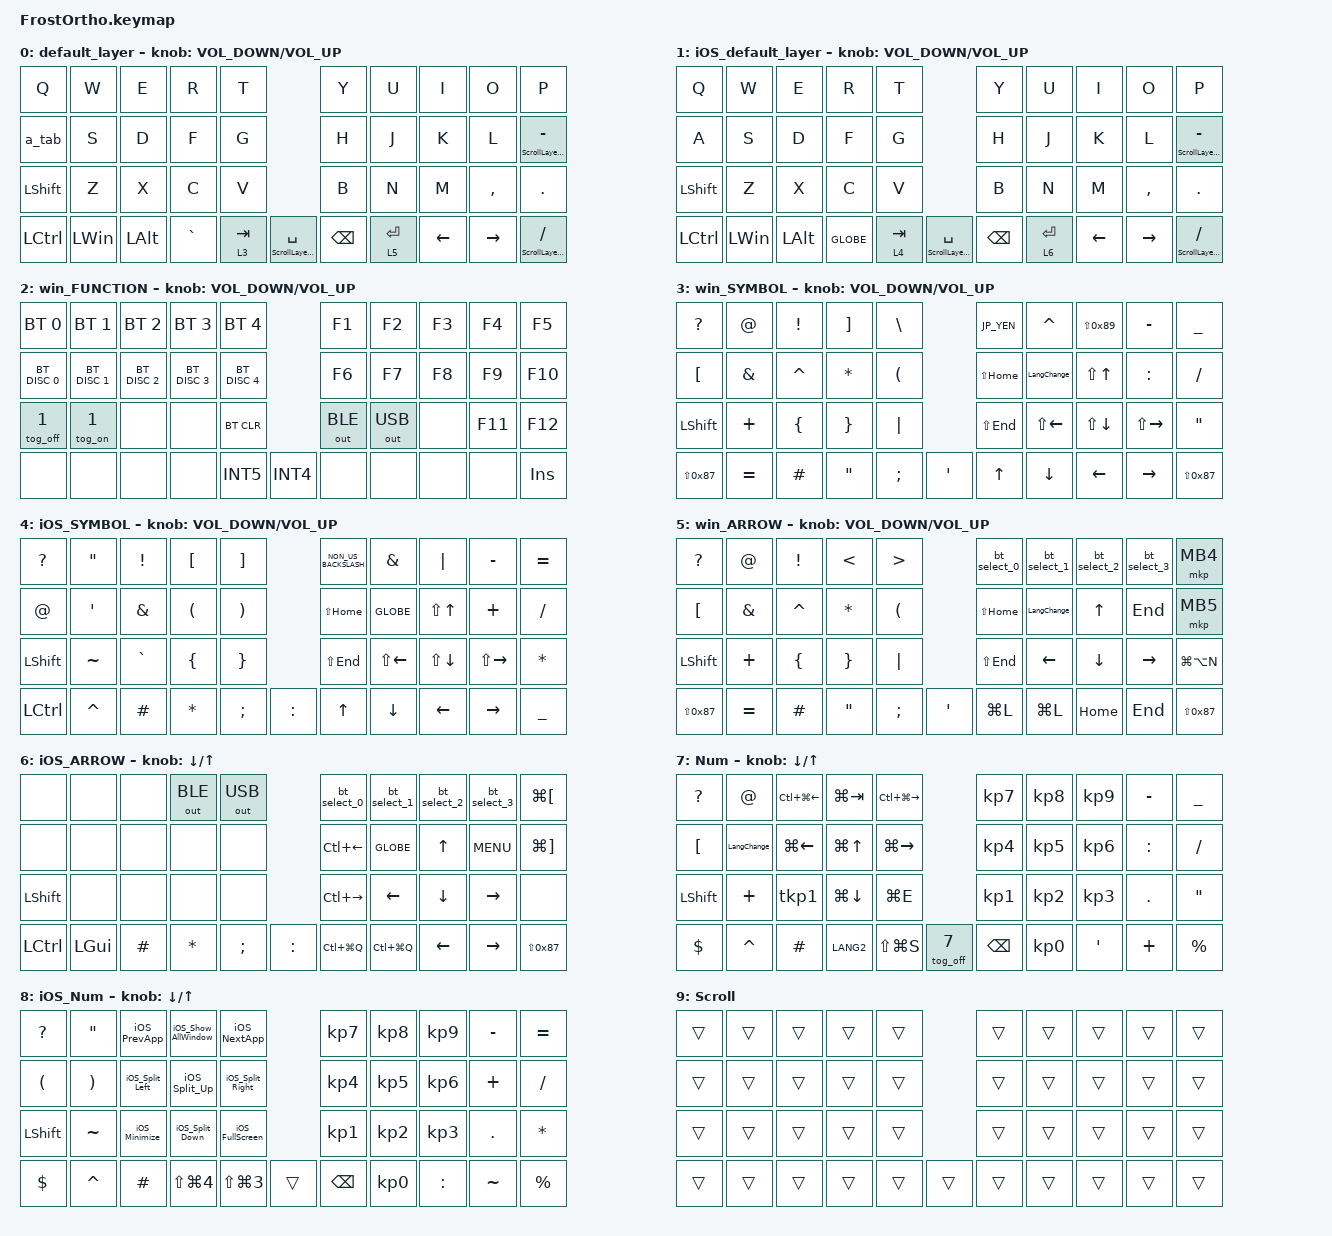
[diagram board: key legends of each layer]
#include <behaviors/rgbled_widget.dtsi>
#include <behaviors.dtsi>
#include <dt-bindings/zmk/bt.h>
#include <dt-bindings/zmk/keys.h>
#include <dt-bindings/zmk/outputs.h>
#include <dt-bindings/zmk/pointing.h>

// OS設定を日本語キーボードのまま使用するための変換定義

#define JP_DQUOTE       AT                // "
#define JP_AMPERSAND    CARET             // &
#define JP_QUOTE        AMPERSAND         // '
#define JP_EQUAL        UNDER             // =
#define JP_CARET        EQUAL             // ^
#define JP_YEN          0x89              // ¥
#define JP_PLUS         COLON             // +
#define JP_TILDE        PLUS              // ~
#define JP_PIPE         LS(0x89)          // |
#define JP_AT           LEFT_BRACKET      // @
#define JP_COLON        SINGLE_QUOTE      // :
#define JP_ASTERISK     DOUBLE_QUOTES     // *
#define JP_BACKQUOTE    LEFT_BRACE        // `
#define JP_UNDERSCORE   LS(0x87)          // _
#define JP_LBRACKET     RIGHT_BRACKET     // [
#define JP_RBRACKET     BACKSLASH         // ]
#define JP_LPAREN       ASTERISK          // (
#define JP_RPAREN       LEFT_PARENTHESIS  // )
#define JP_LBRACE       RIGHT_BRACE       // {
#define JP_RBRACE       PIPE              // }
#define JP_KANA         LANGUAGE_1        // かな
#define JP_EISU         LANGUAGE_2        // 英数
#define JP_HANZEN       GRAVE             // 半角/全角

&mt {
    flavor = "tap-preferred";
    quick-tap-ms = <0>;
};

&trackball {
    // automouse-layer = <1>;

    scroll-layers = <9>;

    arrows {
        layers = <3>;
        bindings =
            <&kp RIGHT_ARROW>,
            <&kp LEFT_ARROW>,
            <&kp UP_ARROW>,
            <&kp DOWN_ARROW>;

        tick = <60>;
        wait-ms = <50>;
        tap-ms = <5>;
    };

    arrows_iOS {
        layers = <4>;
        bindings =
            <&kp RIGHT_ARROW>,
            <&kp LEFT_ARROW>,
            <&kp UP_ARROW>,
            <&kp DOWN_ARROW>;

        tick = <30>;
        wait-ms = <10>;
        tap-ms = <5>;
    };
};

/ {
    combos {
        compatible = "zmk,combos";

        esc {
            bindings = <&kp ESC>;
            key-positions = <0 1>;
        };

        Fn2 {
            bindings = <&kp F2>;
            key-positions = <1 2>;
        };

        Left_Click {
            bindings = <&mkp MB1>;
            key-positions = <5 6>;
        };

        Right_Click {
            bindings = <&mkp MB2>;
            key-positions = <6 7>;
        };

        comboDELL {
            bindings = <&kp DEL>;
            key-positions = <8 9>;
        };

        ctrlQ {
            bindings = <&kp LC(Q)>;
            key-positions = <17 16>;
        };

        WindowClose {
            bindings = <&window_close>;
            key-positions = <8 7 9 6>;
        };

        ContextMenu {
            bindings = <&kp K_CONTEXT_MENU>;
            key-positions = <27 26>;
        };

        mb3 {
            bindings = <&mkp MB3>;
            key-positions = <7 6 5>;
        };

        lt_function {
            bindings = <&mo 2>;
            key-positions = <25 36>;
        };

        escapeRightSide {
            bindings = <&kp ESC>;
            key-positions = <17 16 15>;
            layers = <0>;
        };

        home {
            bindings = <&kp HOME>;
            key-positions = <27 38>;
        };

        end {
            bindings = <&kp END>;
            key-positions = <28 39>;
        };

        arrowUp {
            bindings = <&kp UP_ARROW>;
            key-positions = <28 27>;
        };

        arrowDown {
            bindings = <&kp DOWN_ARROW>;
            key-positions = <39 38>;
        };

        ltFunction {
            bindings = <&mo 2>;
            key-positions = <31 32>;
        };

        Left_Click2 {
            bindings = <&mkp MB1>;
            key-positions = <15 16>;
        };

        Right_Click2 {
            bindings = <&mkp MB2>;
            key-positions = <16 17>;
        };

        escapeRightSide2 {
            bindings = <&kp ESC>;
            key-positions = <25 26 27>;
            layers = <0>;
        };

        Fn5 {
            bindings = <&kp F5>;
            key-positions = <4 3>;
        };
    };

    macros {
        to_layer_0: to_layer_0 {
            compatible = "zmk,behavior-macro-one-param";
            #binding-cells = <1>;
            bindings = <&to 0 &macro_param_1to1 &kp MACRO_PLACEHOLDER>;
            label = "TO_LAYER_0";
        };

        screenshot: screenshot {
            compatible = "zmk,behavior-macro";
            #binding-cells = <0>;
            bindings =
                <&to 7>,
                <&macro_press>,
                <&kp LEFT_WIN &kp LEFT_SHIFT &kp S>,
                <&macro_release>,
                <&kp LEFT_WIN &kp LEFT_SHIFT &kp S>;

            label = "SCREENSHOT";
        };

        tkp1: tkp1 {
            compatible = "zmk,behavior-macro";
            #binding-cells = <0>;
            bindings = <&kp LS(T) &kp R &kp N5 &kp N3 &kp LS(D) &kp EXCL &kp G &kp J &kp O>;
            label = "TKP1";
        };

        window_close: window_close {
            compatible = "zmk,behavior-macro";
            #binding-cells = <0>;
            bindings =
                <&macro_press>,
                <&kp LEFT_ALT>,
                <&macro_wait_time 500>,
                <&macro_tap>,
                <&kp F4>,
                <&macro_wait_time 500>,
                <&macro_release>,
                <&kp LEFT_ALT>;

            label = "WINDOW_CLOSE";
        };

        bt_select_0: bt_select_0 {
            compatible = "zmk,behavior-macro";
            #binding-cells = <0>;
            bindings = <&tog_off 1>, <&macro_wait_time 200>, <&bt BT_SEL 0>;

            label = "BT_SELECT_0";
        };

        bt_select_1: bt_select_1 {
            compatible = "zmk,behavior-macro";
            #binding-cells = <0>;
            bindings = <&tog_off 1>, <&macro_wait_time 200>, <&bt BT_SEL 1>;

            label = "BT_SELECT_1";
        };

        bt_select_2: bt_select_2 {
            compatible = "zmk,behavior-macro";
            #binding-cells = <0>;
            bindings = <&bt BT_SEL 2>, <&macro_wait_time 500>, <&tog_on 1>;

            label = "BT_SELECT_2";
        };

        ScrollLayer_win: ScrollLayer_win {
            compatible = "zmk,behavior-macro";
            #binding-cells = <0>;
            bindings =
                <&tog_on 7>,
                <&macro_wait_time 100>,
                <&tog_on 9>,
                <&macro_pause_for_release>,
                <&tog_off 7>,
                <&macro_wait_time 100>,
                <&tog_off 9>;

            label = "SCROLLLAYER_WIN";
        };

        ScrollLayer_iOS: ScrollLayer_iOS {
            compatible = "zmk,behavior-macro";
            #binding-cells = <0>;
            bindings =
                <&tog_on 8>,
                <&macro_wait_time 100>,
                <&tog_on 9>,
                <&macro_pause_for_release>,
                <&tog_off 8>,
                <&macro_wait_time 100>,
                <&tog_off 9>;

            label = "SCROLLLAYER_IOS";
        };

        iOS_FullScreen: iOS_FullScreen {
            compatible = "zmk,behavior-macro";
            #binding-cells = <0>;
            bindings =
                <&macro_press>,
                <&kp GLOBE>,
                <&macro_tap>,
                <&kp F>,
                <&macro_release>,
                <&kp GLOBE>;

            label = "IOS_FULLSCREEN";
        };

        iOS_Minimize: iOS_Minimize {
            compatible = "zmk,behavior-macro";
            #binding-cells = <0>;
            bindings =
                <&macro_press>,
                <&kp GLOBE>,
                <&macro_tap>,
                <&kp M>,
                <&macro_release>,
                <&kp GLOBE>;

            label = "IOS_MINIMIZE";
        };

        iOS_Split_Left: iOS_Split_Left {
            compatible = "zmk,behavior-macro";
            #binding-cells = <0>;
            bindings =
                <&macro_press>,
                <&kp LCTRL &kp GLOBE>,
                <&macro_tap>,
                <&kp LEFT_ARROW>,
                <&macro_release>,
                <&kp LCTRL &kp GLOBE>;

            label = "IOS_SPLIT_LEFT";
        };

        iOS_Split_Right: iOS_Split_Right {
            compatible = "zmk,behavior-macro";
            #binding-cells = <0>;
            bindings =
                <&macro_press>,
                <&kp LCTRL &kp GLOBE>,
                <&macro_tap>,
                <&kp RIGHT_ARROW>,
                <&macro_release>,
                <&kp LCTRL &kp GLOBE>;

            label = "IOS_SPLIT_RIGHT";
        };

        iOS_Split_Up: iOS_Split_Up {
            compatible = "zmk,behavior-macro";
            #binding-cells = <0>;
            bindings =
                <&macro_press>,
                <&kp LCTRL &kp GLOBE>,
                <&macro_tap>,
                <&kp UP_ARROW>,
                <&macro_release>,
                <&kp LCTRL &kp GLOBE>;

            label = "IOS_SPLIT_UP";
        };

        iOS_Split_Down: iOS_Split_Down {
            compatible = "zmk,behavior-macro";
            #binding-cells = <0>;
            bindings =
                <&macro_press>,
                <&kp LCTRL &kp GLOBE>,
                <&macro_tap>,
                <&kp DOWN_ARROW>,
                <&macro_release>,
                <&kp LCTRL &kp GLOBE>;

            label = "IOS_SPLIT_DOWN";
        };

        iOS_Show_AllWindow: iOS_Show_AllWindow {
            compatible = "zmk,behavior-macro";
            #binding-cells = <0>;
            bindings =
                <&macro_press>,
                <&kp GLOBE>,
                <&macro_tap>,
                <&kp UP_ARROW>,
                <&macro_release>,
                <&kp GLOBE>;

            label = "IOS_SHOW_ALLWINDOW";
        };

        iOS_NextApp: iOS_NextApp {
            compatible = "zmk,behavior-macro";
            #binding-cells = <0>;
            bindings =
                <&macro_press>,
                <&kp GLOBE>,
                <&macro_tap>,
                <&kp RIGHT_ARROW>,
                <&macro_release>,
                <&kp GLOBE>;

            label = "IOS_NEXTAPP";
        };

        iOS_PrevApp: iOS_PrevApp {
            compatible = "zmk,behavior-macro";
            #binding-cells = <0>;
            bindings =
                <&macro_press>,
                <&kp GLOBE>,
                <&macro_tap>,
                <&kp LEFT_ARROW>,
                <&macro_release>,
                <&kp GLOBE>;

            label = "IOS_PREVAPP";
        };

        bt_select_3: bt_select_3 {
            compatible = "zmk,behavior-macro";
            #binding-cells = <0>;
            bindings = <&tog_off 1>, <&macro_wait_time 200>, <&bt BT_SEL 3>;

            label = "BT_SELECT_3";
        };

        OCMD: OCMD {
            compatible = "zmk,behavior-macro";
            #binding-cells = <0>;
            bindings =
                <&kp LG(R)>,
                <&macro_wait_time 800>,
                <&kp C &kp M &kp D>,
                <&macro_wait_time 800>,
                <&kp ENTER>;

            label = "OCMD";
        };
    };

    behaviors {
        lt_to_layer_0: lt_to_layer_0 {
            compatible = "zmk,behavior-hold-tap";
            label = "LAYER_TAP_TO_0";
            bindings = <&mo>, <&to_layer_0>;

            #binding-cells = <2>;
            tapping-term-ms = <300>;
        };

        // Kyemap Editor用

        scroll_up_down: behavior_sensor_rotate_mouse_wheel_up_down {
            compatible = "zmk,behavior-sensor-rotate";
            #sensor-binding-cells = <0>;
            tap-ms = <20>;
            bindings = <&msc SCRL_UP>, <&msc SCRL_DOWN>;
        };

        vol_up_down: vol_up_down {
            compatible = "zmk,behavior-sensor-rotate";
            #sensor-binding-cells = <0>;
            tap-ms = <5>;
            bindings = <&kp C_VOL_DN>, <&kp C_VOL_UP>;
        };

        tog_on: toggle_layer_on_only {
            compatible = "zmk,behavior-toggle-layer";
            #binding-cells = <1>;
            display-name = "Toggle Layer On";
            toggle-mode = "on";
        };

        tog_off: toggle_layer_off_only {
            compatible = "zmk,behavior-toggle-layer";
            #binding-cells = <1>;
            display-name = "Toggle Layer Off";
            toggle-mode = "off";
        };

        lt_ScrollLayer_win: lt_ScrollLayer_win {
            compatible = "zmk,behavior-hold-tap";
            label = "LT_SCROLLLAYER_WIN";
            bindings = <&ScrollLayer_win>, <&kp>;

            #binding-cells = <2>;
            tapping-term-ms = <200>;
            flavor = "tap-preferred";
        };

        lt_ScrollLayer_iOS: lt_ScrollLayer_iOS {
            compatible = "zmk,behavior-hold-tap";
            label = "LT_SCROLLLAYER_IOS";
            bindings = <&ScrollLayer_iOS>, <&kp>;

            #binding-cells = <2>;
            tapping-term-ms = <200>;
            flavor = "tap-preferred";
        };

        a_tab: a_tab {
            compatible = "zmk,behavior-mod-morph";
            label = "A_TAB";
            bindings = <&kp A>, <&kp TAB>;

            #binding-cells = <0>;
            mods = <(MOD_LALT)>;
            keep-mods = <(MOD_LALT)>;
        };

        LangChange: LangChange {
            compatible = "zmk,behavior-tap-dance";
            label = "LANGCHANGE";
            #binding-cells = <0>;
            bindings = <&kp LANG2>, <&kp LANG1>;

            tapping-term-ms = <500>;
        };

        backspace_lt_win: backspace_lt_win {
            compatible = "zmk,behavior-tap-dance";
            label = "BACKSPACE_LT_WIN";
            #binding-cells = <0>;
            bindings = <&lt 5 BACKSPACE>, <&kp BACKSPACE>;
        };

        backspace_lt_ios: backspace_lt_ios {
            compatible = "zmk,behavior-tap-dance";
            label = "BACKSPACE_LT_IOS";
            #binding-cells = <0>;
            bindings = <&lt 6 BACKSPACE>, <&kp BACKSPACE>;
        };

        MouseScroll: MouseScroll {
            compatible = "zmk,behavior-sensor-rotate";
            label = "MOUSESCROLL";
            #sensor-binding-cells = <0>;
            bindings = <&kp K_SCROLL_DOWN>, <&kp K_SCROLL_UP>;
        };
    };

    keymap {
        compatible = "zmk,keymap";

        default_layer {
            bindings = <
&kp Q           &kp W         &kp E         &kp R      &kp T                                       &kp Y          &kp U        &kp I           &kp O            &kp P
&a_tab          &kp S         &kp D         &kp F      &kp G                                       &kp H          &kp J        &kp K           &kp L            &lt_ScrollLayer_win 0 MINUS
&kp LEFT_SHIFT  &kp Z         &kp X         &kp C      &kp V                                       &kp B          &kp N        &kp M           &kp COMMA        &kp PERIOD
&kp LCTRL       &kp LEFT_WIN  &kp LEFT_ALT  &kp GRAVE  &lt 3 TAB  &lt_ScrollLayer_win 0 SPACE      &kp BACKSPACE  &lt 5 ENTER  &kp LEFT_ARROW  &kp RIGHT_ARROW  &lt_ScrollLayer_win 0 SLASH
            >;

            sensor-bindings = <&inc_dec_kp C_VOLUME_DOWN C_VOLUME_UP>;
        };

        iOS_default_layer {
            bindings = <
&kp Q           &kp W         &kp E         &kp R      &kp T                                       &kp Y          &kp U        &kp I           &kp O            &kp P
&kp A           &kp S         &kp D         &kp F      &kp G                                       &kp H          &kp J        &kp K           &kp L            &lt_ScrollLayer_iOS 0 MINUS
&kp LEFT_SHIFT  &kp Z         &kp X         &kp C      &kp V                                       &kp B          &kp N        &kp M           &kp COMMA        &kp PERIOD
&kp LCTRL       &kp LEFT_WIN  &kp LEFT_ALT  &kp GLOBE  &lt 4 TAB  &lt_ScrollLayer_iOS 0 SPACE      &kp BACKSPACE  &lt 6 ENTER  &kp LEFT_ARROW  &kp RIGHT_ARROW  &lt_ScrollLayer_iOS 0 SLASH
            >;

            sensor-bindings = <&inc_dec_kp C_VOLUME_DOWN C_VOLUME_UP>;
        };

        win_FUNCTION {
            bindings = <
&bt BT_SEL 0   &bt BT_SEL 1   &bt BT_SEL 2   &bt BT_SEL 3   &bt BT_SEL 4                 &kp F1        &kp F2        &kp F3  &kp F4   &kp F5
&bt BT_DISC 0  &bt BT_DISC 1  &bt BT_DISC 2  &bt BT_DISC 3  &bt BT_DISC 4                &kp F6        &kp F7        &kp F8  &kp F9   &kp F10
&tog_off 1     &tog_on 1      &none          &none          &bt BT_CLR                   &out OUT_BLE  &out OUT_USB  &none   &kp F11  &kp F12
&none          &none          &none          &none          &kp INT5       &kp INT4      &none         &none         &none   &none    &kp INSERT
            >;

            sensor-bindings = <&inc_dec_kp C_VOLUME_DOWN C_VOLUME_UP>;
        };

        win_SYMBOL {
            bindings = <
&kp QUESTION       &kp JP_DQUOTE  &kp EXCLAMATION   &kp JP_LBRACKET  &kp JP_RBRACKET                    &kp JP_YEN    &kp JP_AMPERSAND    &kp JP_PIPE         &kp MINUS            &kp JP_EQUAL
&kp JP_AT          &kp JP_QUOTE   &kp JP_AMPERSAND  &kp JP_LPAREN    &kp JP_RPAREN                      &kp LS(HOME)  &LangChange         &kp LS(UP_ARROW)    &kp JP_PLUS          &kp SLASH
&kp LEFT_SHIFT     &kp JP_TILDE   &kp JP_BACKQUOTE  &kp JP_LBRACE    &kp JP_RBRACE                      &kp LS(END)   &kp LS(LEFT_ARROW)  &kp LS(DOWN_ARROW)  &kp LS(RIGHT_ARROW)  &kp JP_ASTERISK
&kp JP_UNDERSCORE  &kp JP_CARET   &kp HASH          &kp JP_ASTERISK  &kp SEMICOLON    &kp JP_COLON      &kp UP_ARROW  &kp DOWN_ARROW      &kp LEFT_ARROW      &kp RIGHT_ARROW      &kp JP_UNDERSCORE
            >;

            sensor-bindings = <&inc_dec_kp C_VOLUME_DOWN C_VOLUME_UP>;
        };

        iOS_SYMBOL {
            bindings = <
&kp QUESTION      &kp DOUBLE_QUOTES  &kp EXCLAMATION  &kp LEFT_BRACKET      &kp RBKT                              &kp NON_US_BACKSLASH  &kp AMPERSAND       &kp PIPE            &kp MINUS            &kp EQUAL
&kp AT_SIGN       &kp SQT            &kp AMPERSAND    &kp LEFT_PARENTHESIS  &kp RIGHT_PARENTHESIS                 &kp LS(HOME)          &kp GLOBE           &kp LS(UP_ARROW)    &kp PLUS             &kp SLASH
&kp LEFT_SHIFT    &kp TILDE          &kp GRAVE        &kp LEFT_BRACE        &kp RIGHT_BRACE                       &kp LS(END)           &kp LS(LEFT_ARROW)  &kp LS(DOWN_ARROW)  &kp LS(RIGHT_ARROW)  &kp ASTERISK
&kp LEFT_CONTROL  &kp CARET          &kp HASH         &kp ASTERISK          &kp SEMICOLON          &kp COLON      &kp UP_ARROW          &kp DOWN_ARROW      &kp LEFT_ARROW      &kp RIGHT_ARROW      &kp UNDERSCORE
            >;

            sensor-bindings = <&inc_dec_kp C_VOLUME_DOWN C_VOLUME_UP>;
        };

        win_ARROW {
            bindings = <
&kp QUESTION       &kp JP_DQUOTE  &kp EXCLAMATION   &kp LESS_THAN    &kp GREATER_THAN                    &bt_select_0  &bt_select_1    &bt_select_2    &bt_select_3     &mkp MB4
&kp JP_AT          &kp JP_QUOTE   &kp JP_AMPERSAND  &kp JP_LPAREN    &kp JP_RPAREN                       &kp LS(HOME)  &LangChange     &kp UP_ARROW    &kp END          &mkp MB5
&kp LEFT_SHIFT     &kp JP_TILDE   &kp JP_BACKQUOTE  &kp JP_LBRACE    &kp JP_RBRACE                       &kp LS(END)   &kp LEFT_ARROW  &kp DOWN_ARROW  &kp RIGHT_ARROW  &kp LG(LA(N))
&kp JP_UNDERSCORE  &kp JP_CARET   &kp HASH          &kp JP_ASTERISK  &kp SEMICOLON     &kp JP_COLON      &kp LG(L)     &kp LG(L)       &kp HOME        &kp END          &kp JP_UNDERSCORE
            >;

            sensor-bindings = <&inc_dec_kp C_VOLUME_DOWN C_VOLUME_UP>;
        };

        iOS_ARROW {
            bindings = <
&none             &none         &none     &out OUT_BLE  &out OUT_USB                  &bt_select_0         &bt_select_1    &bt_select_2    &bt_select_3     &kp LG(LEFT_BRACKET)
&none             &none         &none     &none         &none                         &kp LC(LEFT_ARROW)   &kp GLOBE       &kp UP_ARROW    &kp C_MENU       &kp LG(RIGHT_BRACKET)
&kp LEFT_SHIFT    &none         &none     &none         &none                         &kp LC(RIGHT_ARROW)  &kp LEFT_ARROW  &kp DOWN_ARROW  &kp RIGHT_ARROW  &none
&kp LEFT_CONTROL  &kp LEFT_GUI  &kp HASH  &kp ASTERISK  &kp SEMICOLON  &kp COLON      &kp LC(LG(Q))        &kp LC(LG(Q))   &kp LEFT_ARROW  &kp RIGHT_ARROW  &kp JP_UNDERSCORE
            >;

            sensor-bindings = <&inc_dec_kp DOWN_ARROW UP_ARROW>;
        };

        Num {
            bindings = <
&kp QUESTION    &kp JP_DQUOTE  &kp LC(LG(LEFT_ARROW))  &kp LG(TAB)         &kp LC(LG(RIGHT_ARROW))                  &kp KP_NUMBER_7  &kp KP_NUMBER_8  &kp KP_NUMBER_9  &kp MINUS     &kp JP_EQUAL
&kp JP_AT       &LangChange    &kp LG(LEFT_ARROW)      &kp LG(UP_ARROW)    &kp LG(RIGHT_ARROW)                      &kp KP_NUMBER_4  &kp KP_NUMBER_5  &kp KP_NUMBER_6  &kp JP_PLUS   &kp SLASH
&kp LEFT_SHIFT  &kp JP_TILDE   &tkp1                   &kp LG(DOWN_ARROW)  &kp LG(E)                                &kp KP_NUMBER_1  &kp KP_NUMBER_2  &kp KP_NUMBER_3  &kp PERIOD    &kp JP_ASTERISK
&kp DOLLAR      &kp CARET      &kp HASH                &kp LANG2           &kp LS(LG(S))            &tog_off 7      &kp BACKSPACE    &kp KP_NUMBER_0  &kp JP_COLON     &kp JP_TILDE  &kp PERCENT
            >;

            sensor-bindings = <&inc_dec_kp DOWN_ARROW UP_ARROW>;
        };

        iOS_Num {
            bindings = <
&kp QUESTION          &kp DOUBLE_QUOTES      &iOS_PrevApp     &iOS_Show_AllWindow   &iOS_NextApp                      &kp KP_NUMBER_7  &kp KP_NUMBER_8  &kp KP_NUMBER_9  &kp MINUS   &kp EQUAL
&kp LEFT_PARENTHESIS  &kp RIGHT_PARENTHESIS  &iOS_Split_Left  &iOS_Split_Up         &iOS_Split_Right                  &kp KP_NUMBER_4  &kp KP_NUMBER_5  &kp KP_NUMBER_6  &kp PLUS    &kp SLASH
&kp LEFT_SHIFT        &kp TILDE              &iOS_Minimize    &iOS_Split_Down       &iOS_FullScreen                   &kp KP_NUMBER_1  &kp KP_NUMBER_2  &kp KP_NUMBER_3  &kp PERIOD  &kp ASTERISK
&kp DOLLAR            &kp CARET              &kp HASH         &kp LS(LG(NUMBER_4))  &kp LS(LG(NUMBER_3))  &trans      &kp BACKSPACE    &kp KP_N0        &kp COLON        &kp TILDE   &kp PERCENT
            >;

            sensor-bindings = <&inc_dec_kp DOWN_ARROW UP_ARROW>;
        };

        Scroll {
            bindings = <
&trans  &trans  &trans  &trans  &trans              &trans  &trans  &trans  &trans  &trans
&trans  &trans  &trans  &trans  &trans              &trans  &trans  &trans  &trans  &trans
&trans  &trans  &trans  &trans  &trans              &trans  &trans  &trans  &trans  &trans
&trans  &trans  &trans  &trans  &trans  &trans      &trans  &trans  &trans  &trans  &trans
            >;
        };
    };
};
